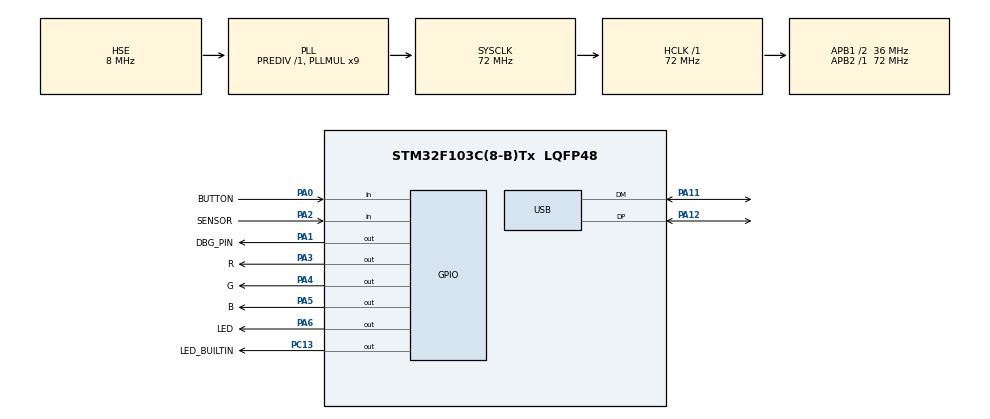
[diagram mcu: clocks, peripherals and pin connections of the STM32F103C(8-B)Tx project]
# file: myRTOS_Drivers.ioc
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Mcu.Family=STM32F1
Mcu.Name=STM32F103C(8-B)Tx
Mcu.Package=LQFP48
NVIC.PriorityGroup=NVIC_PRIORITYGROUP_4
NVIC.USB_LP_CAN1_RX0_IRQn=true\:1\:0\:true\:false\:true\:false\:true\:true
PA0-WKUP.GPIO_Label=BUTTON
PA0-WKUP.GPIO_PuPd=GPIO_PULLUP
PA0-WKUP.Signal=GPIO_Input
PA1.GPIO_Label=DBG_PIN
PA1.Signal=GPIO_Output
PA11.Mode=Device
PA11.Signal=USB_DM
PA12.Mode=Device
PA12.Signal=USB_DP
PA2.GPIO_Label=SENSOR
PA2.Signal=GPIO_Input
PA3.GPIO_Label=R
PA3.Signal=GPIO_Output
PA4.GPIO_Label=G
PA4.Signal=GPIO_Output
PA5.GPIO_Label=B
PA5.Signal=GPIO_Output
PA6.GPIO_Label=LED
PA6.Signal=GPIO_Output
PC13-TAMPER-RTC.GPIO_Label=LED_BUILTIN
PC13-TAMPER-RTC.Signal=GPIO_Output
PD0-OSC_IN.Mode=HSE-External-Oscillator
PD0-OSC_IN.Signal=RCC_OSC_IN
PD1-OSC_OUT.Mode=HSE-External-Oscillator
PD1-OSC_OUT.Signal=RCC_OSC_OUT
ProjectManager.HeapSize=0x400
ProjectManager.StackSize=0x800
ProjectManager.TargetToolchain=MDK-ARM V5.32
RCC.AHBFreq_Value=72000000
RCC.APB1CLKDivider=RCC_HCLK_DIV2
RCC.APB1Freq_Value=36000000
RCC.APB1TimFreq_Value=72000000
RCC.APB2Freq_Value=72000000
RCC.APB2TimFreq_Value=72000000
RCC.HCLKFreq_Value=72000000
RCC.PLLMUL=RCC_PLL_MUL9
RCC.SYSCLKFreq_VALUE=72000000
RCC.SYSCLKSource=RCC_SYSCLKSOURCE_PLLCLK
RCC.USBFreq_Value=48000000
RCC.USBPrescaler=RCC_USBCLKSOURCE_PLL_DIV1_5
USB_DEVICE.CLASS_NAME_FS=CDC
USB_DEVICE.VirtualMode=Cdc
USB_DEVICE.VirtualModeFS=Cdc_FS
VP_SYS_VS_ND.Mode=No_Debug
VP_USB_DEVICE_VS_USB_DEVICE_CDC_FS.Mode=CDC_FS
board=custom

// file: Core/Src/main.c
/* USER CODE BEGIN Header */
/**
  ******************************************************************************
  * @file           : main.c
  * @brief          : Main program body
  ******************************************************************************
  * @attention
  *
  * Copyright (c) 2026 STMicroelectronics.
  * All rights reserved.
  *
  * This software is licensed under terms that can be found in the LICENSE file
  * in the root directory of this software component.
  * If no LICENSE file comes with this software, it is provided AS-IS.
  *
  ******************************************************************************
  */
/* USER CODE END Header */
#include "main.h"
#include "usb_device.h"
#include "gpio.h"

/* USER CODE BEGIN Includes */
#include <string.h>
#include "gpio_driver.h"
#include "usb_cdc_driver.h"
#include "os_protocol.h"
#include "tiny_os.h"
#include "os_memory.h"
#include "os_mutex.h"
#include "os_semaphore.h"
#include "os_queue.h"

/* =========================================
 * KHAI BÁO CÁC CHÂN (PORTA)
 * ========================================= */
 void SystemClock_Config(void);
#define BTN_PORT        GPIOA
#define BTN_PIN         GPIO_PIN_0

#define SENSOR_PORT     GPIOA
#define SENSOR_PIN      GPIO_PIN_2

#define RGB_R_PORT      GPIOA
#define RGB_R_PIN       GPIO_PIN_3
#define RGB_G_PORT      GPIOA
#define RGB_G_PIN       GPIO_PIN_4
#define RGB_B_PORT      GPIOA
#define RGB_B_PIN       GPIO_PIN_5

// KHAI BÁO CHÂN LED M?I C?M NGOÀI
#define EXT_LED_PORT    GPIOA
#define EXT_LED_PIN     GPIO_PIN_6

/* =========================================
 * BI?N TR?NG THÁI H? TH?NG
 * ========================================= */
typedef enum {
    MODE_OFF = 0,
    MODE_ON  = 1,
    MODE_AUTO = 2
} SystemMode_t;

volatile SystemMode_t current_mode = MODE_OFF;

// B? nh? Stack cho 2 Task
uint32_t stack_button[128];
uint32_t stack_sensor[128];
uint32_t stack_usb_rx[512];
uint32_t stack_heartbeat[192];
uint32_t stack_led[128];
uint32_t stack_monitor[768];
uint32_t stack_idle[128];

void Task_USB_Rx(void *arg);
void Task_Heartbeat(void *arg);
void Task_LED(void *arg);
void Task_Monitor(void *arg);
void Task_Idle(void *arg);

/* =========================================
 * CÁC HÀM H? TR? ÐI?U KHI?N
 * ========================================= */
void RGB_SetColor(uint8_t r, uint8_t g, uint8_t b) {
    GPIO_Write(RGB_R_PORT, RGB_R_PIN, r);
    GPIO_Write(RGB_G_PORT, RGB_G_PIN, g);
    GPIO_Write(RGB_B_PORT, RGB_B_PIN, b);
}

// Hàm di?u khi?n LED c?m ngoài (Sáng khi ? m?c 1)
void EXT_LED_On(void) {
    GPIO_Write(EXT_LED_PORT, EXT_LED_PIN, 1);
}

void EXT_LED_Off(void) {
    GPIO_Write(EXT_LED_PORT, EXT_LED_PIN, 0);
}

/* =========================================
 * TASK 1: QU?N LÝ NÚT NH?N & Ð?I TR?NG THÁI
 * ========================================= */
void Task_Button_Control(void *arg) {
    uint8_t last_btn_state = 1; // M?c d?nh Pull-up là 1

    // Kh?i t?o ban d?u: T?t h?t
    RGB_SetColor(0, 0, 0);
    EXT_LED_Off();

    while (1) {
        uint8_t current_btn = GPIO_Read(BTN_PORT, BTN_PIN);

        // Phát hi?n su?n xu?ng (nh?n nút)
        if (current_btn == 0 && last_btn_state == 1) {

            OS_Delay(20); // Ch?ng d?i phím 20ms

            if (GPIO_Read(BTN_PORT, BTN_PIN) == 0) { // Ch?c ch?n dã nh?n

                // Ð?i tr?ng thái: OFF(0) -> ON(1) -> AUTO(2) -> vòng l?i OFF(0)
                if (current_mode == MODE_AUTO) {
                    current_mode = MODE_OFF;
                } else {
                    current_mode++;
                }

                // C?p nh?t LED RGB ch? báo và LED c?m ngoài
                switch (current_mode) {
                    case MODE_OFF:
                        RGB_SetColor(0, 0, 0); // RGB T?t
                        EXT_LED_Off();         // T?t c?ng LED ngoài
                        break;

                    case MODE_ON:
                        RGB_SetColor(0, 1, 0); // RGB Xanh lá
                        EXT_LED_On();          // B?t c?ng LED ngoài
                        break;

                    case MODE_AUTO:
                        RGB_SetColor(1, 1, 0); // RGB Vàng
                        // KHÔNG tác d?ng LED ngoài ? dây, d? Task 2 t? lo
                        break;
                }
            }
        }
        last_btn_state = current_btn;
        OS_Delay(50); // Nhu?ng CPU
    }
}

/* =========================================
 * TASK 2: Ð?C C?M BI?N (CH? CH?Y KHI AUTO)
 * ========================================= */
void Task_Auto_Light(void *arg) {
    while (1) {
        // Ch? quét c?m bi?n và b?t/t?t LED ngoài khi dang ? ch? d? AUTO
        if (current_mode == MODE_AUTO) {

            uint8_t sensor_val = GPIO_Read(SENSOR_PORT, SENSOR_PIN);

            // Logic module FC-51 LM393 (T?i = 1, Sáng = 0)
            if (sensor_val == 1) {
                EXT_LED_On();   // Tr?i t?i -> B?t LED ngoài
            } else {
                EXT_LED_Off();  // Tr?i sáng -> T?t LED ngoài
            }
        }

        OS_Delay(100); // Quét m?i 100ms
    }
}
void SystemClock_Config(void)
{
  RCC_OscInitTypeDef RCC_OscInitStruct = {0};
  RCC_ClkInitTypeDef RCC_ClkInitStruct = {0};
  RCC_PeriphCLKInitTypeDef PeriphClkInit = {0};

  RCC_OscInitStruct.OscillatorType = RCC_OSCILLATORTYPE_HSE;
  RCC_OscInitStruct.HSEState = RCC_HSE_ON;
  RCC_OscInitStruct.HSEPredivValue = RCC_HSE_PREDIV_DIV1;
  RCC_OscInitStruct.HSIState = RCC_HSI_ON;
  RCC_OscInitStruct.PLL.PLLState = RCC_PLL_ON;
  RCC_OscInitStruct.PLL.PLLSource = RCC_PLLSOURCE_HSE;
  RCC_OscInitStruct.PLL.PLLMUL = RCC_PLL_MUL9;
  if (HAL_RCC_OscConfig(&RCC_OscInitStruct) != HAL_OK)
  {
    Error_Handler();
  }

  RCC_ClkInitStruct.ClockType = RCC_CLOCKTYPE_HCLK|RCC_CLOCKTYPE_SYSCLK
                              |RCC_CLOCKTYPE_PCLK1|RCC_CLOCKTYPE_PCLK2;
  RCC_ClkInitStruct.SYSCLKSource = RCC_SYSCLKSOURCE_PLLCLK;
  RCC_ClkInitStruct.AHBCLKDivider = RCC_SYSCLK_DIV1;
  RCC_ClkInitStruct.APB1CLKDivider = RCC_HCLK_DIV2;
  RCC_ClkInitStruct.APB2CLKDivider = RCC_HCLK_DIV1;

  if (HAL_RCC_ClockConfig(&RCC_ClkInitStruct, FLASH_LATENCY_2) != HAL_OK)
  {
    Error_Handler();
  }

  PeriphClkInit.PeriphClockSelection = RCC_PERIPHCLK_USB;
  PeriphClkInit.UsbClockSelection = RCC_USBCLKSOURCE_PLL_DIV1_5;
  if (HAL_RCCEx_PeriphCLKConfig(&PeriphClkInit) != HAL_OK)
  {
    Error_Handler();
  }
}

/* USER CODE BEGIN 4 */
void Task_USB_Rx(void *arg)
{
    uint8_t buf[64];

    while (1)
    {
        uint16_t n = USB_CDC_Receive(buf, sizeof(buf) - 1);

        if (n > 0)
        {
            buf[n] = '\0';

            USB_CDC_SendString("RX: ");
            USB_CDC_Send(buf, n);
            USB_CDC_SendString("\r\n");
            USB_CDC_FlushTX();
        }

        OS_Delay(20);
    }
}

void Task_Heartbeat(void *arg)
{
    Proto_Heartbeat_t hb;

    while (1)
    {
        OS_Delay(1000);
    }
}

void Task_LED(void *arg)
{
    while (1)
    {
        LED_Toggle();

        if (USB_CDC_IsConnected())
        {
            OS_Delay(1000);
        }
        else
        {
            OS_Delay(200);
        }
    }
}

static const char *TaskStateToStr(OS_TaskState_t state)
{
    switch (state)
    {
        case OS_TASK_UNUSED:
            return "UNUSED";

        case OS_TASK_READY:
            return "READY";

        case OS_TASK_RUNNING:
            return "RUNNING";

        case OS_TASK_DELAYED:
            return "DELAYED";

        case OS_TASK_BLOCKED:
            return "BLOCKED";

        case OS_TASK_SUSPENDED:
            return "SUSPEND";

        default:
            return "UNKNOWN";
    }
}

void Task_Monitor(void *arg)
{
    while (1)
    {
        uint32_t now = OS_GetTick();

        /*
         * In dang text ASCII de tranh loi font/ky tu rac.
         * Flush tung nhom nho de khong tran USB_TX_RING_SIZE.
         */
        USB_CDC_Printf("\r\n===== TASK MONITOR =====\r\n");
        USB_CDC_Printf("tick=%lu | tasks=%u | mode=%u\r\n",
                       (unsigned long)now,
                       (unsigned int)OS_GetTaskCount(),
                       (unsigned int)current_mode);
        USB_CDC_Printf("ID  NAME        PR  STATE  STACK_FREE  RUN_COUNT  LAST_TICK\r\n");
        USB_CDC_Printf("------------------------------------------------------------\r\n");
        USB_CDC_FlushTX();
        OS_Delay(5);

        for (uint8_t i = 0; i < OS_GetTaskCount(); i++)
        {
            OS_TCB_t *t = OS_GetTaskInfo(i);

            if (t != NULL)
            {
                USB_CDC_Printf("%u   %-10s  %u   %-5s  %lu        %lu        %lu\r\n",
                               (unsigned int)t->id,
                               (t->name != 0) ? t->name : "noname",
                               (unsigned int)t->priority,
                               TaskStateToStr(t->state),
                               (unsigned long)OS_GetStackFreeBytes(i),
                               (unsigned long)OS_GetTaskRunCount(i),
                               (unsigned long)OS_GetTaskLastRunTick(i));

                USB_CDC_FlushTX();
                OS_Delay(5);
            }
        }

        USB_CDC_Printf("------------------------------------------------------------\r\n");
        USB_CDC_FlushTX();

        OS_Delay(2000);
    }
}

void Task_Idle(void *arg)
{
    while (1)
    {
        __WFI();
    }
}
/* USER CODE END 4 */

void Error_Handler(void)
{
  __disable_irq();
  while (1)
  {
  }
}
/* =========================================
 * HÀM MAIN
 * ========================================= */
int main(void) {
    // 1. Kh?i t?o HAL và Clock
    HAL_Init();
	SystemClock_Config();

	MX_GPIO_Init();
	MX_USB_DEVICE_Init();

	GPIO_Driver_Init();
	USB_CDC_Driver_Init();

	OS_Init();
	OS_Mem_Init();

	OS_CreateTask(Task_Button_Control, NULL, stack_button, 128, 2, 5, "Btn_Task");
	OS_CreateTask(Task_Auto_Light, NULL, stack_sensor, 128, 3, 5, "Sens_Task");

	OS_CreateTask(Task_USB_Rx, NULL, stack_usb_rx, 512, 2, 5, "usb_rx");
	OS_CreateTask(Task_Heartbeat, NULL, stack_heartbeat, 192, 5, 5, "heartbeat");
	OS_CreateTask(Task_LED, NULL, stack_led, 128, 10, 5, "led");
	OS_CreateTask(Task_Monitor, NULL, stack_monitor, 768, 20, 5, "monitor");
	OS_CreateTask(Task_Idle, NULL, stack_idle, 128, 254, 1, "idle");

	OS_Start();

    while (1) {
        // CPU luôn b?n r?n trong các Task, không bao gi? roi xu?ng dây
    }
}
